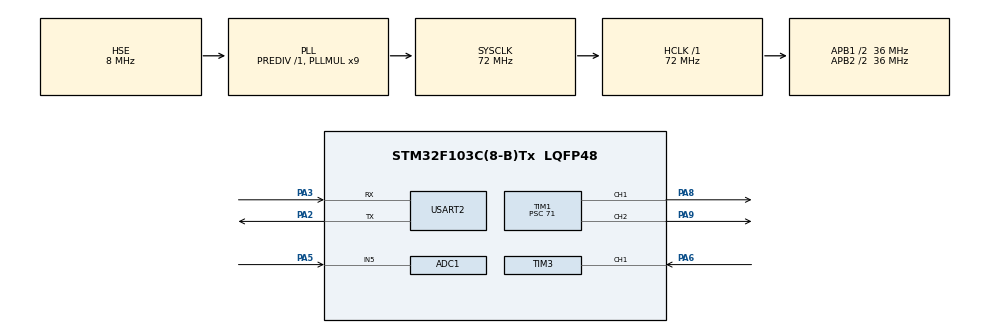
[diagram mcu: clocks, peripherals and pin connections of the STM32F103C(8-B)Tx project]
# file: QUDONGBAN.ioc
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ADC1.Channel-1\#ChannelRegularConversion=ADC_CHANNEL_5
ADC1.NbrOfConversionFlag=1
ADC1.Rank-1\#ChannelRegularConversion=1
ADC1.SamplingTime-1\#ChannelRegularConversion=ADC_SAMPLETIME_1CYCLE_5
ADC1.master=1
Mcu.Family=STM32F1
Mcu.Name=STM32F103C(8-B)Tx
Mcu.Package=LQFP48
NVIC.PriorityGroup=NVIC_PRIORITYGROUP_4
NVIC.TIM3_IRQn=true\:0\:0\:false\:false\:true\:true\:true\:true
NVIC.USART2_IRQn=true\:0\:0\:false\:false\:true\:true\:true\:true
PA13.Mode=Serial_Wire
PA13.Signal=SYS_JTMS-SWDIO
PA14.Mode=Serial_Wire
PA14.Signal=SYS_JTCK-SWCLK
PA2.Mode=Asynchronous
PA2.Signal=USART2_TX
PA3.Mode=Asynchronous
PA3.Signal=USART2_RX
PA5.Signal=ADCx_IN5
PA6.Signal=S_TIM3_CH1
PA8.Signal=S_TIM1_CH1
PA9.Signal=S_TIM1_CH2
PD0-OSC_IN.Mode=HSE-External-Oscillator
PD0-OSC_IN.Signal=RCC_OSC_IN
PD1-OSC_OUT.Mode=HSE-External-Oscillator
PD1-OSC_OUT.Signal=RCC_OSC_OUT
ProjectManager.HeapSize=0x200
ProjectManager.StackSize=0x400
ProjectManager.TargetToolchain=MDK-ARM V5.32
RCC.ADCPresc=RCC_ADCPCLK2_DIV4
RCC.AHBFreq_Value=72000000
RCC.APB1CLKDivider=RCC_HCLK_DIV2
RCC.APB1Freq_Value=36000000
RCC.APB1TimFreq_Value=72000000
RCC.APB2CLKDivider=RCC_HCLK_DIV2
RCC.APB2Freq_Value=36000000
RCC.APB2TimFreq_Value=72000000
RCC.HCLKFreq_Value=72000000
RCC.PLLMUL=RCC_PLL_MUL9
RCC.PLLSourceVirtual=RCC_PLLSOURCE_HSE
RCC.SYSCLKFreq_VALUE=72000000
RCC.SYSCLKSource=RCC_SYSCLKSOURCE_PLLCLK
RCC.USBFreq_Value=72000000
SH.ADCx_IN5.0=ADC1_IN5,IN5
SH.S_TIM1_CH1.0=TIM1_CH1,PWM Generation1 CH1
SH.S_TIM1_CH2.0=TIM1_CH2,PWM Generation2 CH2
SH.S_TIM3_CH1.0=TIM3_CH1,Input_Capture1_from_TI1
TIM1.Channel-PWM\ Generation1\ CH1=TIM_CHANNEL_1
TIM1.Channel-PWM\ Generation2\ CH2=TIM_CHANNEL_2
TIM1.Prescaler=71
TIM3.Channel-Input_Capture1_from_TI1=TIM_CHANNEL_1
USART2.VirtualMode=VM_ASYNC
VP_TIM1_VS_ClockSourceINT.Mode=Internal
board=custom

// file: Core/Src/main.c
/* USER CODE BEGIN Header */
/**
  ******************************************************************************
  * @file           : main.c
  * @brief          : Main program body with PID control for electromagnetic rudder
  ******************************************************************************
  * @attention
  *
  * Copyright (c) 2025 STMicroelectronics.
  * All rights reserved.
  *
  * This software is licensed under terms that can be found in the LICENSE file
  * in the root directory of this software component.
  * If no LICENSE file comes with this software, it is provided AS-IS.
  *
  ******************************************************************************
  */
/* USER CODE END Header */
#include "main.h"
#include "adc.h"
#include "tim.h"
#include "usart.h"
#include "gpio.h"

/* USER CODE BEGIN Includes */
#include "stdio.h"
#include "math.h"
#include <stdlib.h>
#include <stdbool.h>

/* USER CODE END Includes */

/* USER CODE BEGIN PTD */
// PID控制器结构体
typedef struct {
    float Kp;          // 比例系数
    float Ki;          // 积分系数
    float Kd;          // 微分系数
    float SetPoint;    // 目标值
    float ActualPoint; // 实际值
    float Error;       // 当前误差
    float LastError;   // 上一次误差
    float PrevError2; // 前两次误差

    float SumError;    // 误差积分
    float Output;      // PID输出
    float OutMax;      // 输出上限
    float OutMin;      // 输出下限
} PID_TypeDef;

/* USER CODE END PTD */

/* USER CODE BEGIN PD */
// 基础配置
#define ADC_MAX_VALUE    4095    // 12位ADC最大值
#define REF_VOLTAGE      3.3f    // 参考电压3.3V
#define PWM_VOLTAGE_MAX  3.3f    // PWM映射的最大电压

// 角度映射配置（根据实际硬件调整）
#define ANGLE_MIN        0.0f    // 舵机最小角度(°)
#define ANGLE_MAX        20.0f  // 舵机最大角度(°)
#define PWM_DUTY_MIN     0.0f    // 输入PWM最小占空比(%)
#define PWM_DUTY_MAX     100.0f  // 输入PWM最大占空比(%)
#define ADC_VOLT_MIN     0.4477f    // ADC最小电压(V)1：1.52，1.69
#define ADC_VOLT_MAX     0.6127f    // ADC最大电压(V)//1.47    1.665

/*

L1  1.654  1.49     i 0.70
L2  1.56   1.725    i 0.50
L3  0.4477  0.6127     i 0.70

R1  1.545  1.712    i 0.75  p 4.0
R2  1.66   1.49     i 0.7   p 4
R3  1.519  1.68   i 0.70  p 4 d 0.5

*/

// PID参数配置（需根据实际硬件调试）
#define PID_KP           4.0f    // 比例系数
#define PID_KI           0.70f    // 积分系数0.41
#define PID_KD           0.5f   // 微分系数
#define PID_OUT_MAX      100.0f  // PID输出上限
#define PID_OUT_MIN      -100.0f // PID输出下限
#define OVERSHOOT_MARGIN  0.1f   // 允许超调 0.2°

// PWM输出配置（TIM1，假设定时器ARR=99，PSC=71 → 10kHz PWM）
#define PWM_TIM_ARR      99    // TIM1自动重装值
#define PWM_CHANNEL1     TIM_CHANNEL_1 // 正转通道
#define PWM_CHANNEL2     TIM_CHANNEL_2 // 反转通道

#define ALPHA 0.2f   // 平滑系数，可调

/* USER CODE END PD */

/* USER CODE BEGIN PM */
// 限幅宏
#define LIMIT(x, max, min) ((x) > (max) ? (max) : ((x) < (min) ? (min) : (x)))
/* USER CODE END PM */

/* USER CODE BEGIN PV */
// 输入捕获相关
volatile uint32_t IC_Value1 = 0;        // TIM3上升沿捕获值
volatile uint32_t IC_Value2 = 0;        // TIM3下降沿捕获值
volatile uint8_t Capture_Flag = 0;      // 捕获完成标志(0:未捕获 1:已捕上升沿 2:捕获完成)
volatile uint32_t Duty_Cycle_Raw = 0;   // 原始占空比计数值
float Duty_Cycle_Percent = 0.0f;        // 输入PWM占空比(0~100%)
float Target_Angle = 10.0f;              // 目标角度(°)
float value = 0.0f;
// ADC采样相关
uint32_t ADC_Value = 0;
float V_ADC = 0.0f;                     // ADC采样电压(V)
float Actual_Angle = 0.0f;              // 实际角度(°)
#define STABLE_COUNT 3   // 连续3次同一个值才认为稳定

static int stable_angle = 0;       // 当前稳定角度
static int last_angle = -1;        // 上一次角度
static int stable_cnt = 0;

int Get_Stable_Angle(float angle)
{
    if(angle == last_angle)
    {
        stable_cnt++;
    }
    else
    {
        stable_cnt = 1;
        last_angle = angle;
    }

    if(stable_cnt >= STABLE_COUNT)
    {
        stable_angle = angle;
    }

    return stable_angle;
}
// PID控制器
PID_TypeDef Rudder_PID = {
    .Kp = PID_KP,
    .Ki = PID_KI,
    .Kd = PID_KD,
    .SetPoint = 0.0f,
    .ActualPoint = 0.0f,
    .Error = 0.0f,
    .LastError = 0.0f,
    .PrevError2 = 0.0f,
    .SumError = 0.0f,
    .Output = 0.0f,
    .OutMax = PID_OUT_MAX,
    .OutMin = PID_OUT_MIN
};
// 全局变量定义
float Out_flag = 0;           // 角度值

float Angle = 10;           // 角度值
uint8_t rx_buffer[32];   // 接收缓冲区
uint8_t rx_index = 0;    // 缓冲区索引
uint8_t rx_complete = 0; // 接收完成标志
uint8_t rx_char;          // 单字节接收

float sine_phase = 0.0f;        // 正弦相位
const float SINE_FREQ = 2.0f;  // 正弦频率 Hz（1Hz = 1秒一周期）
const float SINE_AMPL = 7.0f;  // 幅值（度）
const float SINE_OFFSET = 10.0f; // 中心角度

//pwm tO phase of angle`
#define PHASE_MIN     0.0f
#define PHASE_MAX     (2.0f * 3.1415926f)

#define PWM_MIN       5.0f    // % 对应 0
#define PWM_MAX       95.0f   // % 对应 2π

#define PHASE_LPF_ALPHA  0.02f

static float phase = 0.0f;
static float phase_filt = 0.0f;
/* USER CODE END PV */

void SystemClock_Config(void);
/* USER CODE BEGIN PFP */
/* 重定向 printf 到 UART2 */
int fputc(int ch, FILE *f)
{
    HAL_UART_Transmit(&huart2, (uint8_t *)&ch, 1, HAL_MAX_DELAY);
    return ch;
}
void Last_Phase(float phase_raw);
float PWM_Duty_to_Angle(float duty);
void Get_ADC_Voltage(void);                     // ADC采样并转换为电压
void Get_PWM_DutyCycle(void);                   // 计算输入PWM占空比
float PWM_Duty_to_Angle(float duty);            // PWM占空比转角度
float ADC_Volt_to_Angle(float volt);            // ADC电压转角度
void PID_Calculate(PID_TypeDef *pid);          // PID计算
void Rudder_Control(float pid_output);          // 舵机控制（正反转+占空比）
/* USER CODE END PFP */

int main(void)
{

  /* MCU Configuration--------------------------------------------------------*/

  /* Reset of all peripherals, Initializes the Flash interface and the Systick. */
  HAL_Init();

  /* Configure the system clock */
  SystemClock_Config();

  /* Initialize all configured peripherals */
  MX_GPIO_Init();
  MX_TIM1_Init();
  MX_TIM3_Init();
  MX_ADC1_Init();
  MX_USART2_UART_Init();
  /* USER CODE BEGIN 2 */
  HAL_UART_Receive_IT(&huart2, &rx_char, 1);
  // 启动TIM3输入捕获（PWM占空比捕获）
  HAL_TIM_IC_Start_IT(&htim3, TIM_CHANNEL_1);

  // 启动TIM1 PWM输出（两路通道）
  HAL_TIM_PWM_Start(&htim1, PWM_CHANNEL1);
  HAL_TIM_PWM_Start(&htim1, PWM_CHANNEL2);

  // 初始化为0占空比
  __HAL_TIM_SET_COMPARE(&htim1, PWM_CHANNEL1, 0);
  __HAL_TIM_SET_COMPARE(&htim1, PWM_CHANNEL2, 0);

  /* USER CODE END 2 */
  float angle_first =0;
  static long count_of = 0;
  static bool flag = false;
  /* Infinite loop */
  /* USER CODE BEGIN WHILE */
  while (1)
  {
//     count_of++;
//     if(count_of >= 50)
//     {
//        flag = !flag;
//        count_of = 0;
//     }
//
//     if(flag == true)
//     {
//        Angle = 3;
//     }
//     else
//        Angle = 17;
     /* ===== 正弦角度指令生成 ===== */
//    float Ts = 0.005f; // 你的控制周期 5ms
//    sine_phase += 2.0f * 3.1415926f * SINE_FREQ * Ts;

//    if (sine_phase > 2.0f * 3.1415926f)
//       sine_phase -= 2.0f * 3.1415926f;

//    Angle = SINE_OFFSET + SINE_AMPL * sin(sine_phase);

    /* USER CODE END WHILE */
    /* USER CODE BEGIN 3 */
    // 1. 读取ADC值并转换为实际角度
    Get_ADC_Voltage();
//	  printf("V_ADC= %f ",V_ADC);//
    Actual_Angle = ADC_Volt_to_Angle(V_ADC);
//	  printf("Actual_Angle= %f \r\n",Actual_Angle);

    // 2. 计算输入PWM占空比并转换为目标角度
    Get_PWM_DutyCycle();
    angle_first = PWM_Duty_to_Angle(Duty_Cycle_Percent);
//    Last_Phase(angle_first);
    Target_Angle = SINE_OFFSET + SINE_AMPL * sinf(angle_first);;
    // 3. 更新PID目标值和实际值
    Rudder_PID.SetPoint = Target_Angle;
    Rudder_PID.ActualPoint = Actual_Angle;

    PID_Calculate(&Rudder_PID);

    // 5. 根据PID输出控制舵机正反转和速度
    Rudder_Control(Rudder_PID.Output);

    printf("Target:%.2f,%.4f,%.2f,%.2f,%f,%f,%f\n",
        Target_Angle, Actual_Angle, Rudder_PID.Error, Rudder_PID.Output,V_ADC,Out_flag,value);

    // 控制周期（可根据需求调整，建议10~20ms）
    HAL_Delay(4);
  }
  /* USER CODE END 3 */
}

void Update_Phase(float duty)
{
    float phase_raw = PWM_Duty_to_Angle(duty);

    // 相位 unwrap（防止 2π 跳变）
    if (phase_raw - phase_filt > 3.14f)
        phase_raw -= 2.0f * 3.1415926f;
    else if (phase_raw - phase_filt < -3.14f)
        phase_raw += 2.0f * 3.1415926f;

    phase_filt += PHASE_LPF_ALPHA * (phase_raw - phase_filt);

    // wrap 回 [0, 2π)
    if (phase_filt > PHASE_MAX)
        phase_filt -= PHASE_MAX;
    if (phase_filt < PHASE_MIN)
        phase_filt += PHASE_MAX;

    phase = phase_filt;
}

void SystemClock_Config(void)
{
  RCC_OscInitTypeDef RCC_OscInitStruct = {0};
  RCC_ClkInitTypeDef RCC_ClkInitStruct = {0};
  RCC_PeriphCLKInitTypeDef PeriphClkInit = {0};

  /** Initializes the RCC Oscillators according to the specified parameters
  * in the RCC_OscInitTypeDef structure.
  */
  RCC_OscInitStruct.OscillatorType = RCC_OSCILLATORTYPE_HSE;
  RCC_OscInitStruct.HSEState = RCC_HSE_ON;
  RCC_OscInitStruct.HSEPredivValue = RCC_HSE_PREDIV_DIV1;
  RCC_OscInitStruct.HSIState = RCC_HSI_ON;
  RCC_OscInitStruct.PLL.PLLState = RCC_PLL_ON;
  RCC_OscInitStruct.PLL.PLLSource = RCC_PLLSOURCE_HSE;
  RCC_OscInitStruct.PLL.PLLMUL = RCC_PLL_MUL9;
  if (HAL_RCC_OscConfig(&RCC_OscInitStruct) != HAL_OK)
  {
    Error_Handler();
  }

  /** Initializes the CPU, AHB and APB buses clocks
  */
  RCC_ClkInitStruct.ClockType = RCC_CLOCKTYPE_HCLK|RCC_CLOCKTYPE_SYSCLK
                              |RCC_CLOCKTYPE_PCLK1|RCC_CLOCKTYPE_PCLK2;
  RCC_ClkInitStruct.SYSCLKSource = RCC_SYSCLKSOURCE_PLLCLK;
  RCC_ClkInitStruct.AHBCLKDivider = RCC_SYSCLK_DIV1;
  RCC_ClkInitStruct.APB1CLKDivider = RCC_HCLK_DIV2;
  RCC_ClkInitStruct.APB2CLKDivider = RCC_HCLK_DIV2;

  if (HAL_RCC_ClockConfig(&RCC_ClkInitStruct, FLASH_LATENCY_2) != HAL_OK)
  {
    Error_Handler();
  }
  PeriphClkInit.PeriphClockSelection = RCC_PERIPHCLK_ADC;
  PeriphClkInit.AdcClockSelection = RCC_ADCPCLK2_DIV4;
  if (HAL_RCCEx_PeriphCLKConfig(&PeriphClkInit) != HAL_OK)
  {
    Error_Handler();
  }
}

/* USER CODE BEGIN 4 */
/**
  * @brief  读取ADC值并转换为实际电压
  * @retval None
  */
void Get_ADC_Voltage(void)
{
  // 启动ADC单次转换
  HAL_ADC_Start(&hadc1);
  // 等待转换完成（超时10ms）
  if (HAL_ADC_PollForConversion(&hadc1, 10) == HAL_OK)
  {
    // 读取ADC原始值
    ADC_Value = HAL_ADC_GetValue(&hadc1);
    // 转换为实际电压：V = (ADC值 / ADC最大值) * 参考电压
    V_ADC = (float)ADC_Value * REF_VOLTAGE / ADC_MAX_VALUE;

  }
  // 停止ADC
  HAL_ADC_Stop(&hadc1);
}

/**
  * @brief  计算输入PWM占空比
  * @retval None
  */
void Get_PWM_DutyCycle(void)
{
  if (Capture_Flag == 2) // 捕获完成后计算
  {
    // 获取TIM3周期（需匹配TIM3的ARR值，假设TIM3配置为400Hz，ARR=2499）
    uint32_t Period = __HAL_TIM_GET_AUTORELOAD(&htim3) + 1;

    // 计算高电平计数值（处理溢出情况）
    if (IC_Value2 > IC_Value1)
    {
      Duty_Cycle_Raw = IC_Value2 - IC_Value1;
    }
    else
    {
      Duty_Cycle_Raw = Period - IC_Value1 + IC_Value2;
    }

    // 计算占空比百分比
    Duty_Cycle_Percent = (float)Duty_Cycle_Raw / Period * 100.0f;
    //printf占空比

    // 限幅防止异常
    Duty_Cycle_Percent = LIMIT(Duty_Cycle_Percent, 100.0f, 0.0f);

    Capture_Flag = 0; // 重置捕获标志
  }
}

/**
  * @brief  PWM占空比转换为舵机角度（线性映射）
  * @param  duty: PWM占空比(0~100%)
  * @retval 映射后的角度(°)
  */
float PWM_Duty_to_Angle(float duty)
{
  // 线性映射：duty → angle
//  float angle = ANGLE_MIN + (duty - PWM_DUTY_MIN) * (ANGLE_MAX - ANGLE_MIN) / (PWM_DUTY_MAX - PWM_DUTY_MIN);
//  // 限幅
//   //printf角度
//  int angle_round = (int)roundf(angle);
//
//  return LIMIT(angle_round, ANGLE_MAX, ANGLE_MIN);

    float p = (duty - PWM_MIN) / (PWM_MAX - PWM_MIN);
    if (p < 0.0f) p = 0.0f;
    if (p > 1.0f) p = 1.0f;
    return PHASE_MIN + p * (PHASE_MAX - PHASE_MIN);
}

/**
  * @brief  ADC电压转换为舵机角度（线性映射）
  * @param  volt: ADC采样电压(0~3.3V)
  * @retval 映射后的角度(°)
  */
float ADC_Volt_to_Angle(float volt)
{
  // 线性映射：voltage → angle
  float angle = ANGLE_MIN + (volt - ADC_VOLT_MIN) * (ANGLE_MAX - ANGLE_MIN) / (ADC_VOLT_MAX - ADC_VOLT_MIN);
   //printf电压值
  // 限幅
  return LIMIT(angle, ANGLE_MAX, ANGLE_MIN);
}

/**
  * @brief  PID计算函数（位置式PID）
  * @param  pid: PID控制器结构体指针
  * @retval None
  */
void PID_Calculate(PID_TypeDef *pid)
{
   static float count = 0.0f;
  // 计算当前误差
  pid->Error = pid->SetPoint - pid->ActualPoint;

  static float last_setpoint = 0.0f;    // 用于区分指令变化
   static float LastActualPoint = 0.0f;
  const float DISTURB_E_THRESHOLD_1 = 2.0f;   // 单位：角度（或你的误差单位）
  static float disturb_detected_1 = 0;
  static float vary_set = 0;

  float pos_err = pid->ActualPoint - pid->SetPoint;
   float last_pos_err = LastActualPoint - pid->SetPoint;
   uint8_t crossed = (pos_err * last_pos_err < 0);
   uint8_t pushing_wrong = (pid->Output * pos_err > 0);

  // PID核心计算
  float delta_u = pid->Kp * (pid->Error - pid->LastError) +               // 比例项
                pid->Ki * pid->Error +           // 积分项
                pid->Kd * (pid->Error - 2.0f * pid->LastError + pid->PrevError2); // 微分项

  pid->Output += delta_u;
  // === 超调方向钳制 ===
//   if (crossed && pushing_wrong)  // 目标在f方向
//   {
//      // 如果已经超过目标 + 允许超调
////      if (pid->ActualPoint < pid->SetPoint - OVERSHOOT_MARGIN)
//      {
//         // 禁止继续正向输出
////         if (pid->Output < 0)
//               pid->Output = 0;
//      }
//   }
//   else if (pid->Error < 0) // 目标在z方向
//   {
//      if (pid->ActualPoint > pid->SetPoint + OVERSHOOT_MARGIN)
//      {
//         if (pid->Output > 0)
//               pid->Output = pid->Output * 0.4;
//      }
//   }
  pid->Output = LIMIT(pid->Output, pid->OutMax, pid->OutMin);
  last_setpoint   = pid->SetPoint; // 更新目标，用于下一拍判定
  pid->PrevError2 = pid->LastError;   // e(k-2) = e(k-1)// 保存当前误差为下一次微分使用
  pid->LastError  = pid->Error;       // e(k-1) = e(k)
}

/**
  * @brief  舵机控制函数（根据PID输出控制正反转和占空比）
  * @param  pid_output: PID输出值(-100~100)
  * @retval None
  */
void Rudder_Control(float pid_output)
{
  uint16_t pwm_value = 0;

  // 计算PWM占空比（绝对值映射到0~PWM_TIM_ARR）
  pwm_value = (uint16_t)(fabs(pid_output) / PID_OUT_MAX * 99);
  pwm_value = LIMIT(pwm_value, 99, 0);
  value = pwm_value;
  // 根据PID输出正负控制正反转
  if (pid_output > 5.0f) // 正转（PID输出为正，误差为正：实际角度 < 目标角度）
  {
    __HAL_TIM_SET_COMPARE(&htim1, PWM_CHANNEL1, pwm_value);  // 正转通道输出PWM
	  HAL_GPIO_WritePin(GPIOA, GPIO_PIN_9, GPIO_PIN_RESET);
//     printf(" zheng_pwm_value = %d ",pwm_value);
     value = 1;
  }
  else if (pid_output < -5.0f) // 反转（PID输出为负，误差为负：实际角度 > 目标角度）
  {

	  HAL_GPIO_WritePin(GPIOA, GPIO_PIN_8, GPIO_PIN_RESET);
    __HAL_TIM_SET_COMPARE(&htim1, PWM_CHANNEL2, pwm_value);  // 反转通道输出PWM
//     printf("fu_pwm_value = %d ",pwm_value);
     value = -1;
  }
  else // 误差过小，停止舵机
  {
    __HAL_TIM_SET_COMPARE(&htim1, PWM_CHANNEL1, 0);
    __HAL_TIM_SET_COMPARE(&htim1, PWM_CHANNEL2, 0);
//     printf(" error is so little! ");
  }
}

/**
  * @brief  TIM3输入捕获回调函数
  * @param  htim: 定时器句柄
  * @retval None
  */
void HAL_TIM_IC_CaptureCallback(TIM_HandleTypeDef *htim)
{
  if (htim->Instance == TIM3 && htim->Channel == HAL_TIM_ACTIVE_CHANNEL_1)
  {
    if (Capture_Flag == 0)
    {
      // 上升沿捕获：记录高电平起始值
      IC_Value1 = HAL_TIM_ReadCapturedValue(htim, TIM_CHANNEL_1);
      // 设置为下降沿捕获
      __HAL_TIM_SET_CAPTUREPOLARITY(htim, TIM_CHANNEL_1, TIM_INPUTCHANNELPOLARITY_FALLING);
      Capture_Flag = 1; // 标记已捕获上升沿
    }
    else if (Capture_Flag == 1)
    {
      // 下降沿捕获：记录高电平结束值
      IC_Value2 = HAL_TIM_ReadCapturedValue(htim, TIM_CHANNEL_1);
      // 恢复为上升沿捕获，准备下一次捕获
      __HAL_TIM_SET_CAPTUREPOLARITY(htim, TIM_CHANNEL_1, TIM_INPUTCHANNELPOLARITY_RISING);
      Capture_Flag = 2; // 标记捕获完成
    }
  }
}

// 串口接收中断回调函数
void HAL_UART_RxCpltCallback(UART_HandleTypeDef *huart)
{
    if(huart->Instance == USART2)  // 确保是串口2
    {
       char c = rx_char;

        // 如果是数字字符
        if(rx_char >= '0' && rx_char <= '9')
        {
            // 将字符转换为数字
            if (rx_index < sizeof(rx_buffer) - 1)
            {
                rx_buffer[rx_index++] = c;
            }

        }
        // 如果是特殊指令
        else if(c == '\n' || c == '\r')
        {
            rx_buffer[rx_index] = '\0';   // 字符串结束
//            printf("Received: , Angle set to: %s\n", rx_buffer);
            int value = atoi((char *) rx_buffer);

            // 限幅：只接受 0~20
            if (value >= 0 && value <= 20)
            {
                Angle = value;
            }
            rx_index = 0; // 清空缓冲区
//            printf("Reset Angle: %d\n",Angle);
        }
        else
        {
            rx_index = 0;
        }
        // 重新启动接收
        HAL_UART_Receive_IT(&huart2, &rx_char, 1);
    }
}

void Last_Phase(float phase_raw)
{

    // 相位 unwrap（防止 2π 跳变）
    if (phase_raw - phase_filt > 3.14f)
        phase_raw -= 2.0f * 3.1415926f;
    else if (phase_raw - phase_filt < -3.14f)
        phase_raw += 2.0f * 3.1415926f;

    phase_filt += PHASE_LPF_ALPHA * (phase_raw - phase_filt);

    // wrap 回 [0, 2π)
    if (phase_filt > PHASE_MAX)
        phase_filt -= PHASE_MAX;
    if (phase_filt < PHASE_MIN)
        phase_filt += PHASE_MAX;

    phase = phase_filt;
}
/* USER CODE END 4 */

void Error_Handler(void)
{
  /* USER CODE BEGIN Error_Handler_Debug */
  /* User can add his own implementation to report the HAL error return state */
  __disable_irq();
  while (1)
  {
    // 错误处理：可添加LED闪烁等提示
  }
  /* USER CODE END Error_Handler_Debug */
}
